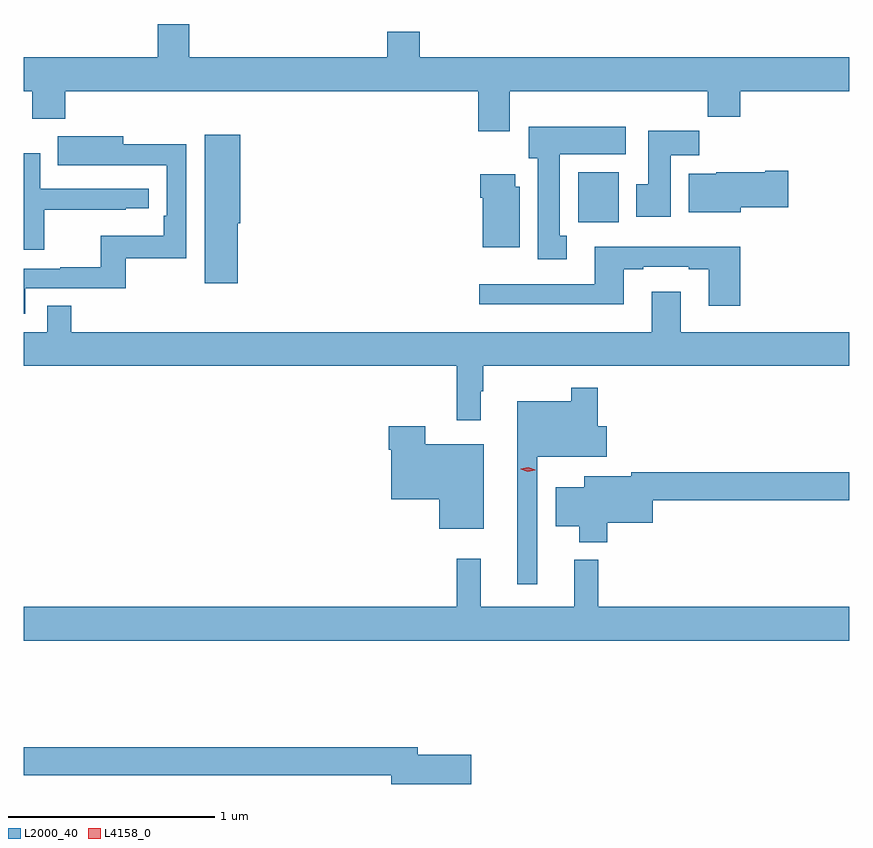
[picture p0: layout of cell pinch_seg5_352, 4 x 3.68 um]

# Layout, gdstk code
import gdstk
lib = gdstk.Library(unit=1e-6, precision=1e-09)
def R(c, l, rs):  # rectangles x0, y0, x1, y1
    for r in rs: c.add(gdstk.rectangle(r[:2], r[2:], *l))
def P(c, l, *ps):  # polygons
    for p in ps: c.add(gdstk.Polygon(p, *l))
L2000_40 = (2000, 40)
L4158_0 = (4158, 0)

pinch_seg5_352 = lib.new_cell('pinch_seg5_352')
R(pinch_seg5_352, L2000_40, [(977.216,877.436,977.413,877.678)])
P(pinch_seg5_352, L2000_40, [(976.885,878.072),(977.845,878.072),(977.845,877.948),(978.002,877.948),(978.002,878.072),(978.53,878.072),(978.53,878.236),(976.448,878.236),(976.448,878.36),(976.291,878.36),(976.291,878.236),(975.331,878.236),(975.331,878.397),(975.179,878.397),(975.179,878.236),(974.53,878.236),(974.53,878.072),(974.572,878.072),(974.572,877.937),(974.732,877.937),(974.732,878.072),(976.733,878.072),(976.733,877.878),(976.885,877.878)],
  [(977.161,877.37),(977.128,877.37),(977.128,877.766),(977.446,877.766),(977.446,877.9),(976.976,877.9),(976.976,877.746),(977.021,877.746),(977.021,877.257),(977.161,877.257)],
  [(977.665,877.76),(977.804,877.76),(977.804,877.879),(977.555,877.879),(977.555,877.62),(977.498,877.62),(977.498,877.464),(977.665,877.464)],
  [(975.568,877.431),(975.58,877.431),(975.58,877.861),(975.407,877.861),(975.407,877.14),(975.568,877.14)],
  [(974.538,877.116),(975.025,877.116),(975.025,877.263),(975.318,877.263),(975.318,877.814),(975.013,877.814),(975.013,877.852),(974.695,877.852),(974.695,877.712),(974.909,877.712),(974.909,877.713),(975.222,877.713),(975.222,877.468),(975.209,877.468),(975.209,877.372),(974.904,877.372),(974.904,877.217),(974.707,877.217),(974.707,877.212),(974.53,877.212),(974.53,876.993),(974.538,876.993)],
  [(974.63,877.498),(975.023,877.498),(975.023,877.503),(975.136,877.503),(975.136,877.599),(974.61,877.599),(974.61,877.771),(974.53,877.771),(974.53,877.302),(974.63,877.302)],
  [(978.004,877.508),(978.235,877.508),(978.235,877.686),(978.122,877.686),(978.122,877.678),(977.886,877.678),(977.886,877.672),(977.753,877.672),(977.753,877.484),(978.004,877.484)],
  [(976.933,877.608),(976.912,877.608),(976.912,877.669),(976.742,877.669),(976.742,877.556),(976.754,877.556),(976.754,877.316),(976.933,877.316)],
  [(978.002,877.318),(977.297,877.318),(977.297,877.137),(976.737,877.137),(976.737,877.04),(977.437,877.04),(977.437,877.209),(977.533,877.209),(977.533,877.221),(977.753,877.221),(977.753,877.209),(977.849,877.209),(977.849,877.032),(978.002,877.032)],
  [(976.744,876.617),(976.756,876.617),(976.756,876.74),(978.53,876.74),(978.53,876.904),(977.713,876.904),(977.713,877.099),(977.573,877.099),(977.573,876.904),(974.759,876.904),(974.759,877.031),(974.643,877.031),(974.643,876.904),(974.53,876.904),(974.53,876.74),(976.627,876.74),(976.627,876.477),(976.744,876.477)],
  [(977.019,876.299),(977.356,876.299),(977.356,876.447),(977.312,876.447),(977.312,876.634),(977.184,876.634),(977.184,876.568),(976.922,876.568),(976.922,875.682),(977.019,875.682)],
  [(976.759,876.361),(976.476,876.361),(976.476,876.448),(976.298,876.448),(976.298,876.335),(976.31,876.335),(976.31,876.095),(976.544,876.095),(976.544,875.951),(976.759,875.951)],
  [(977.357,875.981),(977.578,875.981),(977.578,876.088),(978.53,876.088),(978.53,876.224),(977.474,876.224),(977.474,876.205),(977.246,876.205),(977.246,876.151),(977.108,876.151),(977.108,875.963),(977.222,875.963),(977.222,875.885),(977.357,875.885)],
  [(978.53,875.572),(977.315,875.572),(977.315,875.8),(977.198,875.8),(977.198,875.572),(976.745,875.572),(976.745,875.806),(976.627,875.806),(976.627,875.572),(974.53,875.572),(974.53,875.408),(978.53,875.408)],
  [(976.699,874.856),(976.438,874.856),(976.438,874.892),(974.53,874.892),(974.53,874.756),(976.31,874.756),(976.31,874.714),(976.699,874.714)])
P(pinch_seg5_352, L4158_0, [(976.972,876.228),(976.938,876.24),(976.938,876.241),(976.938,876.241),(976.974,876.248),(977.008,876.236),(977.008,876.235),(977.008,876.235)])

lib.write_gds('pinch_seg5_352.gds')
